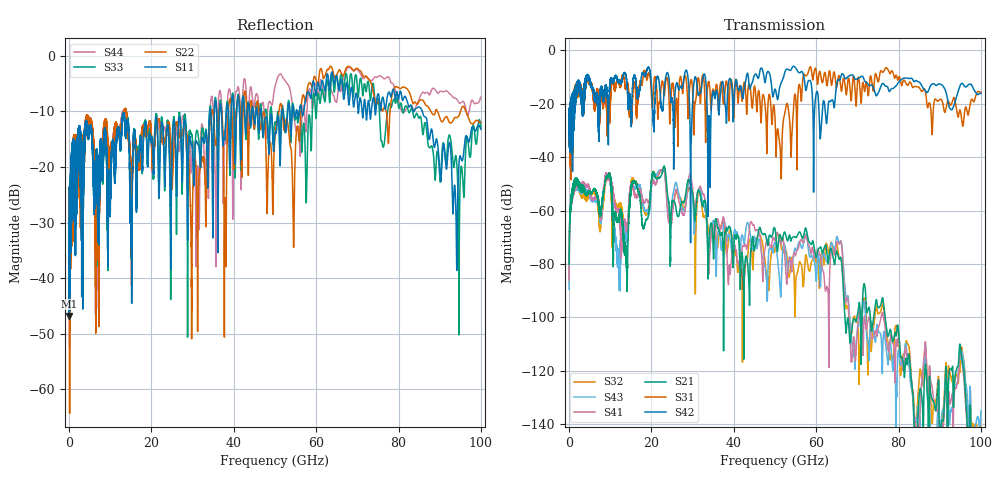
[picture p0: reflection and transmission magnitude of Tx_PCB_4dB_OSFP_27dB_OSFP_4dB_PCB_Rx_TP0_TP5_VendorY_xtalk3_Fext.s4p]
! Info: Touchstone file created by Circ.  Input file=Tx_PCB_4dB_OSFP_27dB_OSFP_4dB_PCB_Rx_TP0_TP5_VendorY.circ
# Hz S RI R 50
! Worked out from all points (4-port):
!   10000 points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, 10 MHz to 100 GHz, reference 50 ohm
!   strongest paths, dB at 10 MHz, 25.01 GHz, 50.01 GHz, 75.01 GHz, 100 GHz:
!     S42: -23.5, -18.6, -14.5, -16.2, -16.2
!     S31: -23.5, -13.0, -25.4, -11.7, -15.7
!     S21: -80.2, -57.0, -67.0, -96.4, -144.1
!     S41: -85.9, -62.4, -70.9, -104.3, -143.3
!     S43: -89.5, -56.4, -72.0, -104.1, -135.1
!     S32: -86.6, -60.1, -75.0, -98.7, -140.7
!   lowest |S11| = -46.8 dB at 30 MHz (marker M1), VSWR 1.01, Z = 49.6 - j0.173 ohm
!   |S11| at or under -10 dB: start of sweep to 34.17 GHz; 46.68 GHz to 51.68 GHz (5.009 GHz wide, 10.2 % of centre); 85.75 GHz to end of sweep (the widest 3 of 24)
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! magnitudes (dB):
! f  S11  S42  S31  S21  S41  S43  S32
! 10 MHz  -23.7  -23.5  -23.5  -80.2  -85.9  -89.5  -86.6
! 30 MHz  -46.8  -30.1  -30.4  -76.4  -78.2  -78.0  -77.5
! 9.57 GHz  -21.5  -29.9  -23.8  -47.0  -48.6  -48.3  -46.6
! 13.84 GHz  -14.5  -9.9  -13.7  -77.9  -66.0  -68.6  -67.4
! 22.75 GHz  -12.7  -21.9  -11.9  -45.0  -44.4  -45.1  -44.5
! 38.88 GHz  -15.4  -10.9  -20.7  -66.0  -81.1  -69.3  -68.2
! 100 GHz  -13.2  -16.2  -15.7  -144.1  -143.3  -135.1  -140.7
